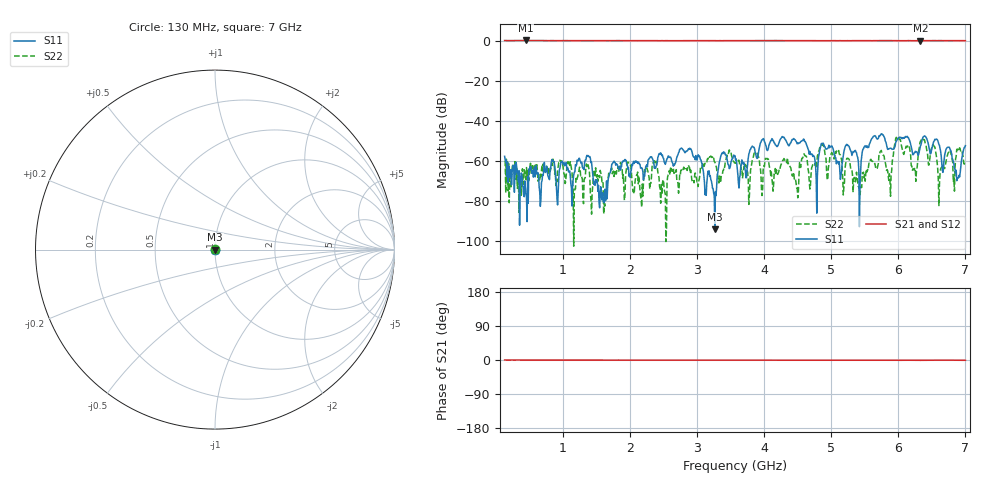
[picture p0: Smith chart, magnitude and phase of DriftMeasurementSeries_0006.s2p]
# Hz S RI R 50.000000
! Metas.Vna.Tools, 2.8.8664.20301
! Metas.Vna.Data, 2.8.8664.20285
! Created: UTC 2024.02.11 10:08:08
! FREQ  re:S1,1  im:S1,1  re:S2,1  im:S2,1  re:S1,2  im:S1,2  re:S2,2  im:S2,2
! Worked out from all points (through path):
!   801 points, 130 MHz to 7 GHz, reference 50 ohm
!   highest |S21| = 0.06 dB at 447.7 MHz (marker M1); lowest = -0.1 dB at 6.33 GHz (marker M2)
!   lowest |S11| = -94.0 dB at 3.264 GHz (marker M3), VSWR 1.00, Z = 50 - j0.000589 ohm
!   |S11| at or under -10 dB: start of sweep to end of sweep
!   |S22| runs from -102.4 to -47.9 dB; largest |S21 - S12| = 0.011
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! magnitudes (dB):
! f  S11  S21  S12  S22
! 130 MHz  -57.7  0.0  0.0  -60.0
! 447.7 MHz  -76.7  0.1  0.0  -69.4
! 525 MHz  -63.1  0.0  0.0  -66.0
! 1.281 GHz  -60.7  0.0  0.0  -68.0
! 1.607 GHz  -80.5  0.0  0.0  -86.4
! 1.762 GHz  -60.1  0.0  0.0  -67.7
! 2.423 GHz  -57.5  -0.1  0.0  -67.1
! 2.895 GHz  -54.0  0.0  0.0  -65.9
! 3.264 GHz  -94.0  -0.1  0.0  -60.5
! 3.376 GHz  -55.9  -0.1  0.0  -66.7
! 3.565 GHz  -57.4  0.0  0.0  -61.0
! 4.716 GHz  -56.6  0.0  0.0  -62.7
! 4.862 GHz  -51.3  -0.1  0.0  -52.2
! 5.42 GHz  -92.7  0.0  0.0  -74.5
! 5.746 GHz  -46.5  0.0  0.0  -54.8
! 5.858 GHz  -54.0  0.0  0.0  -69.7
! 5.987 GHz  -49.0  -0.1  0.0  -48.2
! 6.244 GHz  -55.9  0.0  0.0  -63.3
! 6.33 GHz  -52.5  -0.1  0.0  -50.1
! 6.622 GHz  -53.7  0.0  0.0  -65.9
! 6.888 GHz  -68.5  0.0  0.0  -54.5
! 7 GHz  -52.3  0.0  0.0  -61.5
